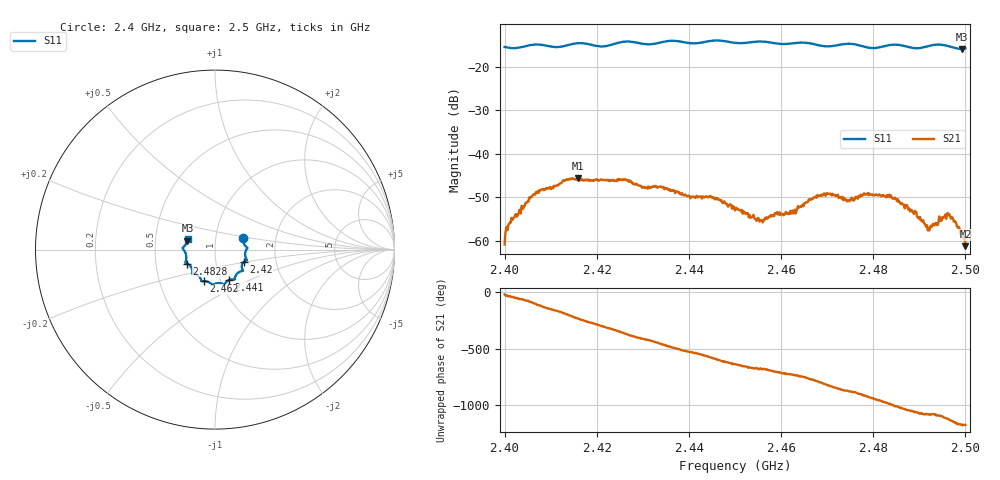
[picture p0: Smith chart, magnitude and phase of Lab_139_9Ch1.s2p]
# Hz S RI R 50
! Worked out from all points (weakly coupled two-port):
!   601 points, 2.4 GHz to 2.5 GHz, reference 50 ohm
!   highest |S21| = -45.55 dB at 2.416 GHz (marker M1); lowest = -61.3 dB at 2.5 GHz (marker M2)
!   lowest |S11| = -15.8 dB at 2.4992 GHz (marker M3), VSWR 1.39, Z = 36.5 + j3.67 ohm
!   |S11| at or under -10 dB: start of sweep to end of sweep
!   S12 and S22 are empty: the file has one direction only
!   S11 on the Smith chart (normalised r, x): 2.4 GHz: 1.36, +0.18; 2.42 GHz: 1.36, -0.20; 2.441 GHz: 1.10, -0.39; 2.462 GHz: 0.84, -0.30; 2.4828 GHz: 0.72, -0.12; 2.5 GHz: 0.73, +0.09
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2.4e9  0.1574 0.063  0.000813 -0.000385  0 0  0 0
2.401333e9  0.1577 0.047  0.00112 -0.00115  0 0  0 0
2.405833e9  0.1787 0.0122  -0.000131 -0.00318  0 0  0 0
2.416e9  0.1781 -0.059  -0.00277 0.00449  0 0  0 0
2.416667e9  0.1779 -0.0601  -0.00199 0.00467  0 0  0 0
2.42e9  0.1594 -0.0697  0.00157 0.00473  0 0  0 0
2.433333e9  0.1125 -0.1512  4.89e-06 -0.00416  0 0  0 0
2.441e9  0.0784 -0.1693  -0.00319 -6.95e-05  0 0  0 0
2.444833e9  0.0537 -0.1923  -0.00251 0.00203  0 0  0 0
2.45e9  0.0284 -0.1871  0.000257 0.00221  0 0  0 0
2.455833e9  -0.0147 -0.1954  0.00133 0.00111  0 0  0 0
2.462e9  -0.0605 -0.1755  0.00219 -0.000227  0 0  0 0
2.466667e9  -0.0777 -0.1682  0.00188 -0.00238  0 0  0 0
2.470333e9  -0.0981 -0.1418  -0.000816 -0.00335  0 0  0 0
2.4745e9  -0.1261 -0.1351  -0.00258 -0.00134  0 0  0 0
2.482833e9  -0.1575 -0.0775  -0.000768 0.00305  0 0  0 0
2.483333e9  -0.1605 -0.0762  -0.000396 0.00334  0 0  0 0
2.488833e9  -0.16 -0.0391  0.00189 0.00072  0 0  0 0
2.491833e9  -0.1729 -0.00336  0.00131 1.38e-05  0 0  0 0
2.4965e9  -0.1711 0.019  0.00139 -0.00146  0 0  0 0
2.499167e9  -0.1538 0.0489  5.83e-05 -0.00132  0 0  0 0
2.5e9  -0.1516 0.0613  -1.26e-05 -0.000863  0 0  0 0
